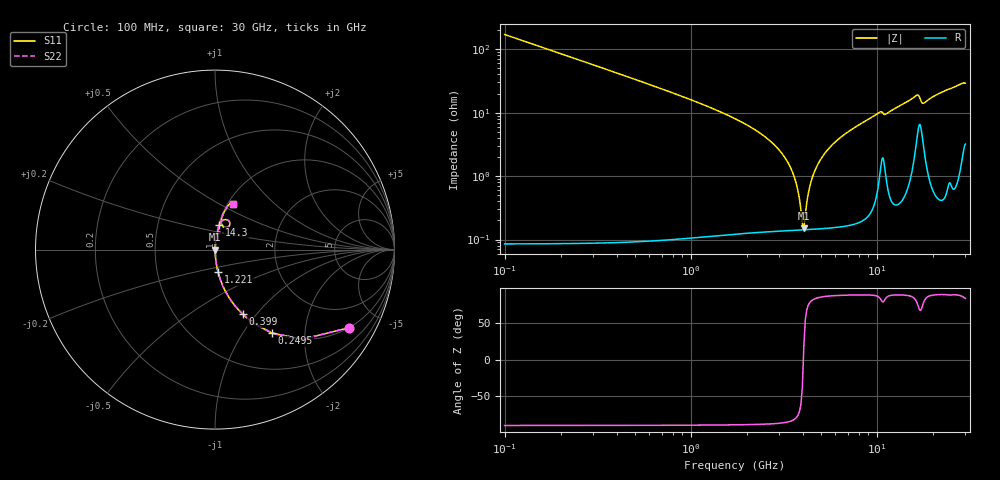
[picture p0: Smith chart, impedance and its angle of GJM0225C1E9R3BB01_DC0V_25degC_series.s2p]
!Murata Part Number: GJM0225C1E9R3BB01
!These Parameters are Measured in Series Mode Connection
!  o--ll--o
!Port1  Port2
!  o------o
!Operation Temp=25[degC], DC Bias Voltage=0[V]
!Freq. Start=100[MHz] Stop=30[GHz], 401[Steps]
!Data Generated on Feb 1, 2023
# Hz S RI R 50
!Freq.(Hz) S11(Real) S11(Imag) S21(Real) S21(Imag) S12(Real) S12(Imag) S22(Real) S22(Imag)
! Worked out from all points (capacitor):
!   401 points, 100 MHz to 30 GHz, reference 50 ohm
!   read as one part in series: C = 9.3 pF near 249.5 MHz
!   lowest |Z| = 150 mohm at 4.062 GHz (marker M1)
!   series resonance near 4.039 GHz, so ESL is about 170 pH
!   S11 on the Smith chart (normalised r, x): 100 MHz: 1.00, -3.42; 249.5 MHz: 1.00, -1.37; 399 MHz: 1.00, -0.85; 1.221 GHz: 1.00, -0.25; 14.3 GHz: 1.01, +0.29; 30 GHz: 1.06, +0.58
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1e8  0.7451 -0.4355  0.2549 0.4355  0.2549 0.4355  0.7451 -0.4355
2.495e8  0.3184 -0.4652  0.6816 0.4652  0.6816 0.4652  0.3184 -0.4652
3.99e8  0.1533 -0.3592  0.8467 0.3592  0.8467 0.3592  0.1533 -0.3592
6.98e8  0.0543 -0.2246  0.9457 0.2246  0.9457 0.2246  0.0543 -0.2246
1.22125e9  0.017 -0.1248  0.983 0.1248  0.983 0.1248  0.017 -0.1248
3.2395e9  0.00172 -0.0188  0.9983 0.0188  0.9983 0.0188  0.00172 -0.0188
3.61325e9  0.00148 -0.00943  0.9985 0.00943  0.9985 0.00943  0.00148 -0.00943
3.91225e9  0.00142 -0.00269  0.9986 0.00269  0.9986 0.00269  0.00142 -0.00269
4.06175e9  0.00142 0.000478  0.9986 -0.000478  0.9986 -0.000478  0.00142 0.000478
4.1365e9  0.00143 0.00202  0.9986 -0.00202  0.9986 -0.00202  0.00143 0.00202
4.51025e9  0.00153 0.00936  0.9985 -0.00936  0.9985 -0.00936  0.00153 0.00936
5.10825e9  0.00189 0.0201  0.9981 -0.0201  0.9981 -0.0201  0.00189 0.0201
6.8275e9  0.00383 0.0468  0.9962 -0.0468  0.9962 -0.0468  0.00383 0.0468
1.01165e10  0.015 0.0946  0.985 -0.0946  0.985 -0.0946  0.015 0.0946
1.1163e10  0.0191 0.091  0.9809 -0.091  0.9809 -0.091  0.0191 0.091
1.43025e10  0.0251 0.1393  0.9749 -0.1393  0.9749 -0.1393  0.0251 0.1393
1.505e10  0.0316 0.1508  0.9684 -0.1508  0.9684 -0.1508  0.0316 0.1508
1.6545e10  0.0711 0.1642  0.9289 -0.1642  0.9289 -0.1642  0.0711 0.1642
1.7741e10  0.0499 0.1249  0.9501 -0.1249  0.9501 -0.1249  0.0499 0.1249
2.005825e10  0.0361 0.1707  0.9639 -0.1707  0.9639 -0.1707  0.0361 0.1707
2.50665e10  0.0608 0.2243  0.9392 -0.2243  0.9392 -0.2243  0.0608 0.2243
3e10  0.1019 0.2524  0.8981 -0.2524  0.8981 -0.2524  0.1019 0.2524
